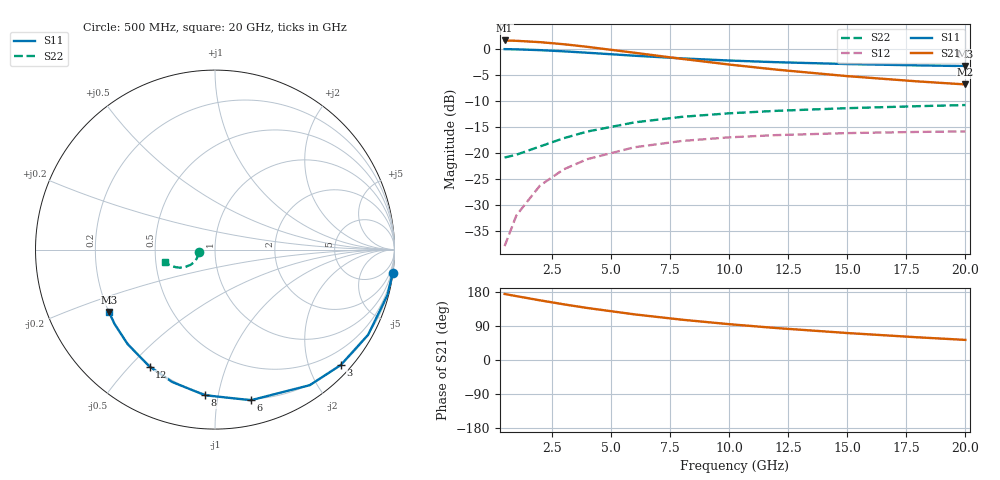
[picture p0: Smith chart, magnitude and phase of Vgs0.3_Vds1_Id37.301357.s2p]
# Hz S RI R 50
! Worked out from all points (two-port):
!   12 points, 500 MHz to 20 GHz, reference 50 ohm
!   highest |S21| = 1.66 dB at 500 MHz (marker M1); lowest = -6.8 dB at 20 GHz (marker M2)
!   |S21| within 3 dB of the highest: start of sweep to 7.073 GHz
!   lowest |S11| = -3.3 dB at 20 GHz (marker M3), VSWR 5.36, Z = 9.99 - j13.1 ohm
!   |S11| at or under -10 dB: nowhere
!   |S22| runs from -20.9 to -10.8 dB; largest |S21 - S12| = 1.2
!   S11 on the Smith chart (normalised r, x): 500 MHz: 0, -15; 3 GHz: 0.19, -2.55; 6 GHz: 0.19, -1.25; 8 GHz: 0.19, -0.92; 12 GHz: 0.19, -0.57; 20 GHz: 0.20, -0.26
5e8  0.9901 -0.1289  -1.204 0.1214  0.00104 0.0126  -0.0891 -0.0141
1e9  0.9609 -0.2535  -1.177 0.2388  0.00409 0.0247  -0.092 -0.0277
2e9  0.8531 -0.4747  -1.076 0.4474  0.0154 0.0461  -0.1029 -0.0522
3e9  0.7002 -0.6435  -0.9328 0.6069  0.0313 0.0619  -0.1185 -0.0715
4e9  0.528 -0.7553  -0.7717 0.7131  0.0493 0.0718  -0.1361 -0.0852
6e9  0.2008 -0.839  -0.4657 0.7947  0.0833 0.0768  -0.1704 -0.0985
8e9  -0.0551 -0.8114  -0.2264 0.7722  0.1097 0.0702  -0.1984 -0.1006
1e10  -0.2375 -0.7382  -0.0561 0.7073  0.1283 0.0589  -0.2198 -0.0976
1.2e10  -0.3646 -0.6521  0.0626 0.6307  0.1409 0.0463  -0.2365 -0.0928
1.5e10  -0.4872 -0.5262  0.177 0.5193  0.1526 0.0278  -0.2559 -0.0847
1.8e10  -0.5598 -0.4141  0.245 0.4217  0.1588 0.011  -0.2713 -0.0762
2e10  -0.591 -0.3475  0.2746 0.3647  0.161 0.000665  -0.2802 -0.0703
